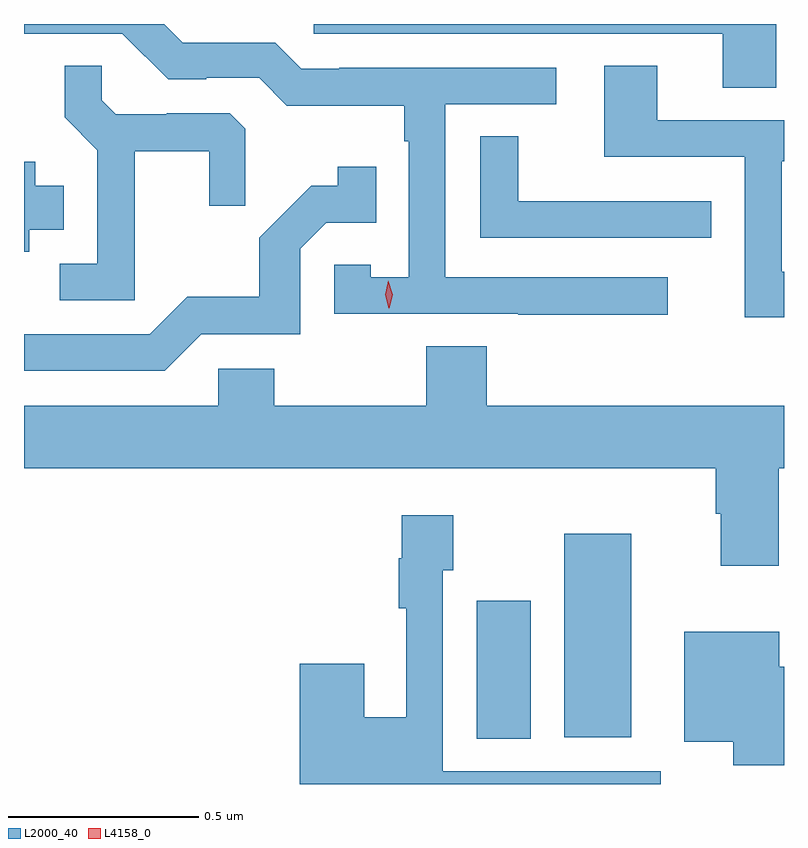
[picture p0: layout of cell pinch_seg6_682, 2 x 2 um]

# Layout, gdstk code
import gdstk
lib = gdstk.Library(unit=1e-6, precision=1e-09)
def R(c, l, rs):  # rectangles x0, y0, x1, y1
    for r in rs: c.add(gdstk.rectangle(r[:2], r[2:], *l))
def P(c, l, *ps):  # polygons
    for p in ps: c.add(gdstk.Polygon(p, *l))
L2000_40 = (2000, 40)
L4158_0 = (4158, 0)

pinch_seg6_682 = lib.new_cell('pinch_seg6_682')
R(pinch_seg6_682, L2000_40, [(389.129,919.984,389.272,920.347), (389.36,919.988,389.536,920.524)])
P(pinch_seg6_682, L2000_40, [(389.917,921.865),(388.701,921.865),(388.701,921.84),(389.777,921.84),(389.777,921.697),(389.917,921.697)],
  [(389.632,921.198),(389.046,921.198),(389.046,921.654),(389.338,921.654),(389.338,921.75),(388.768,921.75),(388.768,921.747),(388.668,921.747),(388.599,921.816),(388.356,921.816),(388.307,921.865),(387.938,921.865),(387.938,921.84),(388.197,921.84),(388.317,921.72),(388.418,921.72),(388.418,921.723),(388.557,921.723),(388.63,921.65),(388.938,921.65),(388.938,921.557),(388.95,921.557),(388.95,921.199),(388.851,921.199),(388.851,921.231),(388.755,921.231),(388.755,921.102),(389.239,921.102),(389.239,921.1),(389.632,921.1)],
  [(388.229,921.53),(388.426,921.53),(388.426,921.387),(388.52,921.387),(388.52,921.589),(388.479,921.63),(388.314,921.63),(388.314,921.627),(388.18,921.627),(388.143,921.664),(388.143,921.755),(388.045,921.755),(388.045,921.619),(388.131,921.533),(388.131,921.234),(388.032,921.234),(388.032,921.138),(388.229,921.138)],
  [(389.938,921.213),(389.932,921.213),(389.932,921.504),(389.938,921.504),(389.938,921.612),(389.605,921.612),(389.605,921.755),(389.465,921.755),(389.465,921.516),(389.835,921.516),(389.835,921.093),(389.938,921.093)],
  [(389.746,921.398),(389.633,921.398),(389.633,921.399),(389.238,921.399),(389.238,921.569),(389.139,921.569),(389.139,921.303),(389.746,921.303)],
  [(387.952,921.323),(388.042,921.323),(388.042,921.439),(387.967,921.439),(387.967,921.502),(387.938,921.502),(387.938,921.266),(387.952,921.266)],
  [(388.404,921.048),(388.665,921.048),(388.665,921.273),(388.734,921.342),(388.865,921.342),(388.865,921.49),(388.764,921.49),(388.764,921.44),(388.694,921.44),(388.557,921.302),(388.557,921.147),(388.368,921.147),(388.269,921.048),(387.938,921.048),(387.938,920.952),(388.308,920.952)],
  [(389.924,920.696),(389.938,920.696),(389.938,920.86),(389.156,920.86),(389.156,921.017),(388.996,921.017),(388.996,920.86),(388.596,920.86),(388.596,920.958),(388.449,920.958),(388.449,920.86),(387.938,920.86),(387.938,920.696),(389.759,920.696),(389.759,920.576),(389.771,920.576),(389.771,920.439),(389.924,920.439)],
  [(389.614,919.899),(389.04,919.899),(389.04,920.427),(389.067,920.427),(389.067,920.572),(388.932,920.572),(388.932,920.459),(388.924,920.459),(388.924,920.327),(388.944,920.327),(388.944,920.041),(388.834,920.041),(388.834,920.182),(388.664,920.182),(388.664,919.865),(389.614,919.865)],
  [(389.938,920.173),(389.926,920.173),(389.926,920.266),(389.675,920.266),(389.675,919.976),(389.804,919.976),(389.804,919.914),(389.938,919.914)])
P(pinch_seg6_682, L4158_0, [(388.898,921.117),(388.898,921.117),(388.888,921.153),(388.897,921.189),(388.897,921.189),(388.897,921.189),(388.908,921.153),(388.899,921.117)])

lib.write_gds('pinch_seg6_682.gds')
